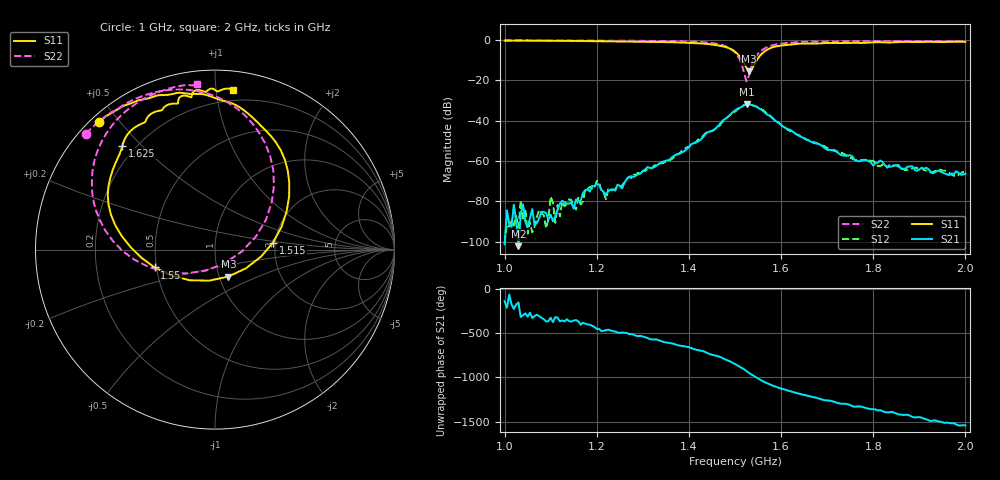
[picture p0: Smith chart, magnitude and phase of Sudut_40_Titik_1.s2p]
# Hz S RI R 50
! CMT, C1220, 16058040, 17.2.0/1
! Date: 14/08/2018 12:54:05
! Data: Format (Calibration Info)
! Freq  S11: Re/Im (F2)  S21: Re/Im (F2)  S12: Re/Im (F2)  S22: Re/Im (F2)
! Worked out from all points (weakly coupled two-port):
!   201 points, 1 GHz to 2 GHz, reference 50 ohm
!   highest |S21| = -31.74 dB at 1.525 GHz (marker M1); lowest = -102.2 dB at 1.03 GHz (marker M2)
!   lowest |S11| = -15.5 dB at 1.53 GHz (marker M3), VSWR 1.40, Z = 55.3 - j17.1 ohm
!   |S11| at or under -10 dB: 1.516 GHz to 1.548 GHz (31.92 MHz wide, 2.08 % of centre)
!   |S22| runs from -20.6 to -0.3 dB; largest |S21 - S12| = 0.0011
!   S11 on the Smith chart (normalised r, x): 1 GHz: 0.02, +0.44; 1.515 GHz: 1.95, +0.17; 1.55 GHz: 0.49, -0.11; 1.625 GHz: 0.15, +0.44; 2 GHz: 0.13, +1.11
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1e9  -0.6452 0.713  -6.31e-06 -5.86e-06  7.02e-06 -5.83e-06  -0.7193 0.6452
1.03e9  -0.6173 0.736  -6.8e-06 -3.71e-06  1.72e-05 1.46e-05  -0.6982 0.6668
1.165e9  -0.4584 0.819  7.48e-05 -7e-05  7.67e-05 -3.31e-05  -0.5827 0.7621
1.17e9  -0.4517 0.8219  0.00015 -5.79e-05  9.95e-05 -6.07e-06  -0.5772 0.7651
1.175e9  -0.4441 0.8249  0.000164 -9.47e-05  0.000172 -9.04e-05  -0.5713 0.7679
1.195e9  -0.4134 0.835  8.3e-05 -0.000216  5.6e-05 -0.000202  -0.548 0.7769
1.2e9  -0.4062 0.8358  -4.4e-06 -0.000279  -6.62e-06 -0.00032  -0.5434 0.777
1.22e9  -0.3763 0.8413  -3.7e-05 -0.000143  -2.63e-05 -0.00011  -0.5313 0.7904
1.225e9  -0.3677 0.8437  -2.94e-05 -0.000176  -6.55e-05 -0.000187  -0.5259 0.7952
1.335e9  -0.1689 0.8704  -0.000646 0.000548  -0.000601 0.000623  -0.3606 0.8694
1.45e9  0.2085 0.7364  0.00502 -0.00214  0.00504 -0.00249  0.0465 0.8331
1.5e9  0.4131 0.2975  -0.011 -0.014  -0.0104 -0.0131  0.3288 0.3595
1.515e9  0.3231 0.039  -0.022 -0.00261  -0.0221 -0.00327  0.2272 0.0714
1.525e9  0.1724 -0.1042  -0.0229 0.0121  -0.0232 0.0121  0.0563 -0.075
1.53e9  0.0748 -0.15  -0.017 0.0187  -0.0172 0.0188  -0.0522 -0.1173
1.55e9  -0.336 -0.0995  0.0083 0.0191  0.00753 0.0193  -0.4495 -0.0561
1.58e9  -0.5932 0.2504  0.0116 -0.00189  0.012 -0.0024  -0.6758 0.2649
1.625e9  -0.5161 0.5779  0.000465 -0.00536  0.00059 -0.00505  -0.6497 0.561
1.67e9  -0.3977 0.7056  -0.00225 -0.00167  -0.00235 -0.00177  -0.567 0.7002
1.835e9  -0.1326 0.8484  0.000496 0.00051  0.000602 0.000504  -0.3158 0.8774
1.98e9  0.0734 0.8971  -2.34e-05 -0.000556  2.92e-05 -0.000415  -0.122 0.9153
2e9  0.1004 0.8878  -0.000101 -0.00047  -0.000115 -0.000536  -0.0985 0.9222
